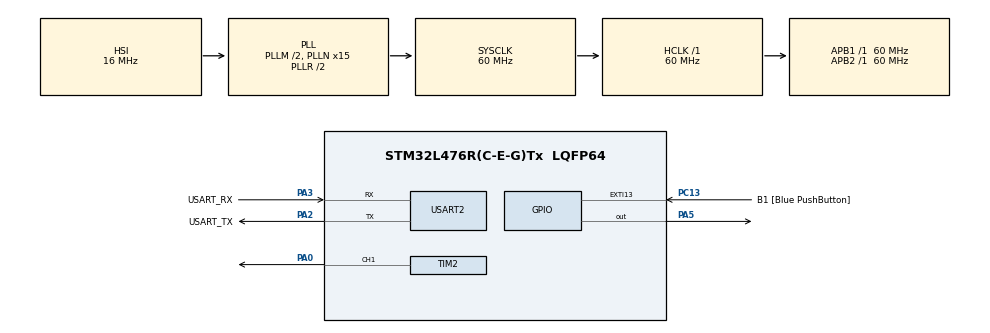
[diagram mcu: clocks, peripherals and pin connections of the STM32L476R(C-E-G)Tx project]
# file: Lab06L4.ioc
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ADC1.Channel-0\#ChannelRegularConversion=ADC_CHANNEL_TEMPSENSOR
ADC1.ClockPrescaler=ADC_CLOCK_SYNC_PCLK_DIV4
ADC1.ContinuousConvMode=DISABLE
ADC1.NbrOfConversion=1
ADC1.NbrOfConversionFlag=1
ADC1.OffsetNumber-0\#ChannelRegularConversion=ADC_OFFSET_NONE
ADC1.Rank-0\#ChannelRegularConversion=1
ADC1.SamplingTime-0\#ChannelRegularConversion=ADC_SAMPLETIME_640CYCLES_5
ADC1.master=1
Mcu.Family=STM32L4
Mcu.Name=STM32L476R(C-E-G)Tx
Mcu.Package=LQFP64
NVIC.EXTI15_10_IRQn=true\:0\:0\:false\:false\:true\:true\:true
NVIC.PriorityGroup=NVIC_PRIORITYGROUP_4
NVIC.TIM6_DAC_IRQn=true\:0\:0\:false\:false\:true\:true\:true
NVIC.USART2_IRQn=true\:0\:0\:false\:false\:true\:true\:true
PA0.Signal=S_TIM2_CH1
PA13\ (JTMS-SWDIO).GPIO_Label=TMS
PA13\ (JTMS-SWDIO).Mode=Serial_Wire
PA13\ (JTMS-SWDIO).Signal=SYS_JTMS-SWDIO
PA14\ (JTCK-SWCLK).GPIO_Label=TCK
PA14\ (JTCK-SWCLK).Mode=Serial_Wire
PA14\ (JTCK-SWCLK).Signal=SYS_JTCK-SWCLK
PA2.GPIO_Label=USART_TX
PA2.GPIO_Mode=GPIO_MODE_AF_PP
PA2.GPIO_PuPd=GPIO_NOPULL
PA2.GPIO_Speed=GPIO_SPEED_FREQ_VERY_HIGH
PA2.Mode=Asynchronous
PA2.Signal=USART2_TX
PA3.GPIO_Label=USART_RX
PA3.GPIO_Mode=GPIO_MODE_AF_PP
PA3.GPIO_PuPd=GPIO_NOPULL
PA3.GPIO_Speed=GPIO_SPEED_FREQ_VERY_HIGH
PA3.Mode=Asynchronous
PA3.Signal=USART2_RX
PA5.Signal=GPIO_Output
PB3\ (JTDO-TRACESWO).GPIO_Label=SWO
PB3\ (JTDO-TRACESWO).Signal=SYS_JTDO-SWO
PC13.GPIO_Label=B1 [Blue PushButton]
PC13.GPIO_ModeDefaultEXTI=GPIO_MODE_IT_FALLING
PC13.GPIO_PuPd=GPIO_NOPULL
PC13.Signal=GPXTI13
PC14-OSC32_IN\ (PC14).Mode=LSE-External-Oscillator
PC14-OSC32_IN\ (PC14).Signal=RCC_OSC32_IN
PC15-OSC32_OUT\ (PC15).Mode=LSE-External-Oscillator
PC15-OSC32_OUT\ (PC15).Signal=RCC_OSC32_OUT
PH0-OSC_IN\ (PH0).Signal=RCC_OSC_IN
PH1-OSC_OUT\ (PH1).Signal=RCC_OSC_OUT
ProjectManager.HeapSize=0x200
ProjectManager.StackSize=0x400
ProjectManager.TargetToolchain=SW4STM32
RCC.ADCFreq_Value=32000000
RCC.AHBFreq_Value=60000000
RCC.APB1Freq_Value=60000000
RCC.APB1TimFreq_Value=60000000
RCC.APB2Freq_Value=60000000
RCC.APB2TimFreq_Value=60000000
RCC.CortexFreq_Value=60000000
RCC.HCLKFreq_Value=60000000
RCC.HSE_VALUE=8000000
RCC.HSI_VALUE=16000000
RCC.MSI_VALUE=4000000
RCC.PLLM=2
RCC.PLLN=15
RCC.PLLSourceVirtual=RCC_PLLSOURCE_HSI
RCC.PREFETCH_ENABLE=1
RCC.SYSCLKFreq_VALUE=60000000
RCC.SYSCLKSource=RCC_SYSCLKSOURCE_PLLCLK
RCC.USBFreq_Value=32000000
RCC.VCOOutputFreq_Value=120000000
SH.S_TIM2_CH1.0=TIM2_CH1,PWM Generation1 CH1
TIM2.Channel-PWM\ Generation1\ CH1=TIM_CHANNEL_1
TIM2.Period=4
TIM2.Prescaler=59999
TIM6.Period=499
TIM6.Prescaler=59999
USART2.VirtualMode-Asynchronous=VM_ASYNC
VP_ADC1_TempSens_Input.Mode=IN-TempSens
VP_TIM6_VS_ClockSourceINT.Mode=Enable_Timer
board=NUCLEO-L476RG

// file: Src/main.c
/* USER CODE BEGIN Header */
/**
  ******************************************************************************
  * @file           : main.c
  * @brief          : Main program body
  ******************************************************************************
  * @attention
  *
  * <h2><center>&copy; Copyright (c) 2019 STMicroelectronics.
  * All rights reserved.</center></h2>
  *
  * This software component is licensed by ST under BSD 3-Clause license,
  * the "License"; You may not use this file except in compliance with the
  * License. You may obtain a copy of the License at:
  *                        opensource.org/licenses/BSD-3-Clause
  *
  ******************************************************************************
  */
/* USER CODE END Header */

#include "main.h"

/* USER CODE BEGIN Includes */
#include <stdio.h>
#include <string.h>
/* USER CODE END Includes */

/* USER CODE BEGIN PTD */
#define Vref		3300.0f
#define Avg_Slope	2.50f
#define V25			760.0f

#define TS110 	((uint16_t*)((uint32_t) 0x1FFF75CA))// calibrated at 3.3V +-10mV @110C +/- 5C
#define TS30 	((uint16_t*)((uint32_t) 0x1FFF75A8))// calibrated at 3.3V +-10mV @ 30C +/- 5C
#define VREF    ((uint16_t*)((uint32_t) 0x1FFF75AA))// calibrated at 3.3V +-10mV @ 30C +/- 5C

#define MAXBUFFSIZE    	100
#define CMD_NUM 		8

/* USER CODE END PTD */

ADC_HandleTypeDef hadc1;

TIM_HandleTypeDef htim2;
TIM_HandleTypeDef htim6;

UART_HandleTypeDef huart2;

/* USER CODE BEGIN PV */

volatile uint16_t press_number = 0;

uint8_t idx = 0;
uint16_t periods[4] = {249, 499, 999, 1999};
uint8_t pulse[4] = {1, 4, 9, 0};

uint8_t dc, step = 0;

uint8_t flag = 1;

uint8_t buffer[MAXBUFFSIZE];

uint8_t RxBuf [MAXBUFFSIZE];
uint8_t TxBuf [MAXBUFFSIZE];

uint8_t errorBuff[] = "\n\r*** Command not found ****\n\r";
uint8_t welcomeBuff[] = "**** WELCOME TO STM32 CONSOLE ****\n\r";

uint8_t *cmds[CMD_NUM] = {
		"led on",
		"led off",
		"led toggle",
		"led blink",
		"led status",
		"get timer",
		"get temp",
		"set timer"
};

uint8_t char_counter = 0;

/* USER CODE END PV */

void SystemClock_Config(void);
static void MX_GPIO_Init(void);
static void MX_USART2_UART_Init(void);
static void MX_TIM6_Init(void);
static void MX_ADC1_Init(void);
static void MX_TIM2_Init(void);
/* USER CODE BEGIN PFP */
void pwm_dc(uint16_t val);
uint16_t get_ADC();
float ConvertTemp(uint16_t adc_raw);
void cmd_check();
/* USER CODE END PFP */

int main(void)
{

  /* MCU Configuration--------------------------------------------------------*/

  /* Reset of all peripherals, Initializes the Flash interface and the Systick. */
  HAL_Init();

  /* Configure the system clock */
  SystemClock_Config();

  /* Initialize all configured peripherals */
  MX_GPIO_Init();
  MX_USART2_UART_Init();
  MX_TIM6_Init();
  MX_ADC1_Init();
  MX_TIM2_Init();
  /* USER CODE BEGIN 2 */

  HAL_UART_Transmit(&huart2, welcomeBuff, sizeof(welcomeBuff), 5000);
  HAL_UART_Receive_IT(&huart2 , RxBuf, 1);

  /* USER CODE END 2 */

  /* Infinite loop */
  while (1)
  {

  }
}

void SystemClock_Config(void)
{
  RCC_OscInitTypeDef RCC_OscInitStruct = {0};
  RCC_ClkInitTypeDef RCC_ClkInitStruct = {0};
  RCC_PeriphCLKInitTypeDef PeriphClkInit = {0};

  /** Initializes the CPU, AHB and APB busses clocks
  */
  RCC_OscInitStruct.OscillatorType = RCC_OSCILLATORTYPE_HSI;
  RCC_OscInitStruct.HSIState = RCC_HSI_ON;
  RCC_OscInitStruct.HSICalibrationValue = RCC_HSICALIBRATION_DEFAULT;
  RCC_OscInitStruct.PLL.PLLState = RCC_PLL_ON;
  RCC_OscInitStruct.PLL.PLLSource = RCC_PLLSOURCE_HSI;
  RCC_OscInitStruct.PLL.PLLM = 2;
  RCC_OscInitStruct.PLL.PLLN = 15;
  RCC_OscInitStruct.PLL.PLLP = RCC_PLLP_DIV7;
  RCC_OscInitStruct.PLL.PLLQ = RCC_PLLQ_DIV2;
  RCC_OscInitStruct.PLL.PLLR = RCC_PLLR_DIV2;
  if (HAL_RCC_OscConfig(&RCC_OscInitStruct) != HAL_OK)
  {
    Error_Handler();
  }
  /** Initializes the CPU, AHB and APB busses clocks
  */
  RCC_ClkInitStruct.ClockType = RCC_CLOCKTYPE_HCLK|RCC_CLOCKTYPE_SYSCLK
                              |RCC_CLOCKTYPE_PCLK1|RCC_CLOCKTYPE_PCLK2;
  RCC_ClkInitStruct.SYSCLKSource = RCC_SYSCLKSOURCE_PLLCLK;
  RCC_ClkInitStruct.AHBCLKDivider = RCC_SYSCLK_DIV1;
  RCC_ClkInitStruct.APB1CLKDivider = RCC_HCLK_DIV1;
  RCC_ClkInitStruct.APB2CLKDivider = RCC_HCLK_DIV1;

  if (HAL_RCC_ClockConfig(&RCC_ClkInitStruct, FLASH_LATENCY_3) != HAL_OK)
  {
    Error_Handler();
  }
  PeriphClkInit.PeriphClockSelection = RCC_PERIPHCLK_USART2;
  PeriphClkInit.Usart2ClockSelection = RCC_USART2CLKSOURCE_PCLK1;
  if (HAL_RCCEx_PeriphCLKConfig(&PeriphClkInit) != HAL_OK)
  {
    Error_Handler();
  }
  /** Configure the main internal regulator output voltage
  */
  if (HAL_PWREx_ControlVoltageScaling(PWR_REGULATOR_VOLTAGE_SCALE1) != HAL_OK)
  {
    Error_Handler();
  }
}

static void MX_ADC1_Init(void)
{

  ADC_MultiModeTypeDef multimode = {0};
  ADC_ChannelConfTypeDef sConfig = {0};

  /** Common config
  */
  hadc1.Instance = ADC1;
  hadc1.Init.ClockPrescaler = ADC_CLOCK_SYNC_PCLK_DIV4;
  hadc1.Init.Resolution = ADC_RESOLUTION_12B;
  hadc1.Init.DataAlign = ADC_DATAALIGN_RIGHT;
  hadc1.Init.ScanConvMode = ADC_SCAN_DISABLE;
  hadc1.Init.EOCSelection = ADC_EOC_SINGLE_CONV;
  hadc1.Init.LowPowerAutoWait = DISABLE;
  hadc1.Init.ContinuousConvMode = DISABLE;
  hadc1.Init.NbrOfConversion = 1;
  hadc1.Init.DiscontinuousConvMode = DISABLE;
  hadc1.Init.ExternalTrigConv = ADC_SOFTWARE_START;
  hadc1.Init.ExternalTrigConvEdge = ADC_EXTERNALTRIGCONVEDGE_NONE;
  hadc1.Init.DMAContinuousRequests = DISABLE;
  hadc1.Init.Overrun = ADC_OVR_DATA_PRESERVED;
  hadc1.Init.OversamplingMode = DISABLE;
  if (HAL_ADC_Init(&hadc1) != HAL_OK)
  {
    Error_Handler();
  }
  /** Configure the ADC multi-mode
  */
  multimode.Mode = ADC_MODE_INDEPENDENT;
  if (HAL_ADCEx_MultiModeConfigChannel(&hadc1, &multimode) != HAL_OK)
  {
    Error_Handler();
  }
  /** Configure Regular Channel
  */
  sConfig.Channel = ADC_CHANNEL_TEMPSENSOR;
  sConfig.Rank = ADC_REGULAR_RANK_1;
  sConfig.SamplingTime = ADC_SAMPLETIME_640CYCLES_5;
  sConfig.SingleDiff = ADC_SINGLE_ENDED;
  sConfig.OffsetNumber = ADC_OFFSET_NONE;
  sConfig.Offset = 0;
  if (HAL_ADC_ConfigChannel(&hadc1, &sConfig) != HAL_OK)
  {
    Error_Handler();
  }

}

static void MX_TIM2_Init(void)
{

  TIM_MasterConfigTypeDef sMasterConfig = {0};
  TIM_OC_InitTypeDef sConfigOC = {0};

  htim2.Instance = TIM2;
  htim2.Init.Prescaler = 59999;
  htim2.Init.CounterMode = TIM_COUNTERMODE_UP;
  htim2.Init.Period = 4;
  htim2.Init.ClockDivision = TIM_CLOCKDIVISION_DIV1;
  htim2.Init.AutoReloadPreload = TIM_AUTORELOAD_PRELOAD_DISABLE;
  if (HAL_TIM_PWM_Init(&htim2) != HAL_OK)
  {
    Error_Handler();
  }
  sMasterConfig.MasterOutputTrigger = TIM_TRGO_RESET;
  sMasterConfig.MasterSlaveMode = TIM_MASTERSLAVEMODE_DISABLE;
  if (HAL_TIMEx_MasterConfigSynchronization(&htim2, &sMasterConfig) != HAL_OK)
  {
    Error_Handler();
  }
  sConfigOC.OCMode = TIM_OCMODE_PWM1;
  sConfigOC.Pulse = 0;
  sConfigOC.OCPolarity = TIM_OCPOLARITY_HIGH;
  sConfigOC.OCFastMode = TIM_OCFAST_DISABLE;
  if (HAL_TIM_PWM_ConfigChannel(&htim2, &sConfigOC, TIM_CHANNEL_1) != HAL_OK)
  {
    Error_Handler();
  }
  HAL_TIM_MspPostInit(&htim2);

}

static void MX_TIM6_Init(void)
{

  TIM_MasterConfigTypeDef sMasterConfig = {0};

  htim6.Instance = TIM6;
  htim6.Init.Prescaler = 59999;
  htim6.Init.CounterMode = TIM_COUNTERMODE_UP;
  htim6.Init.Period = 499;
  htim6.Init.AutoReloadPreload = TIM_AUTORELOAD_PRELOAD_DISABLE;
  if (HAL_TIM_Base_Init(&htim6) != HAL_OK)
  {
    Error_Handler();
  }
  sMasterConfig.MasterOutputTrigger = TIM_TRGO_RESET;
  sMasterConfig.MasterSlaveMode = TIM_MASTERSLAVEMODE_DISABLE;
  if (HAL_TIMEx_MasterConfigSynchronization(&htim6, &sMasterConfig) != HAL_OK)
  {
    Error_Handler();
  }

}

static void MX_USART2_UART_Init(void)
{

  huart2.Instance = USART2;
  huart2.Init.BaudRate = 115200;
  huart2.Init.WordLength = UART_WORDLENGTH_8B;
  huart2.Init.StopBits = UART_STOPBITS_1;
  huart2.Init.Parity = UART_PARITY_NONE;
  huart2.Init.Mode = UART_MODE_TX_RX;
  huart2.Init.HwFlowCtl = UART_HWCONTROL_NONE;
  huart2.Init.OverSampling = UART_OVERSAMPLING_16;
  huart2.Init.OneBitSampling = UART_ONE_BIT_SAMPLE_DISABLE;
  huart2.AdvancedInit.AdvFeatureInit = UART_ADVFEATURE_NO_INIT;
  if (HAL_UART_Init(&huart2) != HAL_OK)
  {
    Error_Handler();
  }

}

static void MX_GPIO_Init(void)
{
  GPIO_InitTypeDef GPIO_InitStruct = {0};

  /* GPIO Ports Clock Enable */
  __HAL_RCC_GPIOC_CLK_ENABLE();
  __HAL_RCC_GPIOH_CLK_ENABLE();
  __HAL_RCC_GPIOA_CLK_ENABLE();
  __HAL_RCC_GPIOB_CLK_ENABLE();

  /*Configure GPIO pin Output Level */
  HAL_GPIO_WritePin(GPIOA, GPIO_PIN_5, GPIO_PIN_RESET);

  /*Configure GPIO pin : B1_Pin */
  GPIO_InitStruct.Pin = B1_Pin;
  GPIO_InitStruct.Mode = GPIO_MODE_IT_FALLING;
  GPIO_InitStruct.Pull = GPIO_NOPULL;
  HAL_GPIO_Init(B1_GPIO_Port, &GPIO_InitStruct);

  /*Configure GPIO pin : PA5 */
  GPIO_InitStruct.Pin = GPIO_PIN_5;
  GPIO_InitStruct.Mode = GPIO_MODE_OUTPUT_PP;
  GPIO_InitStruct.Pull = GPIO_NOPULL;
  GPIO_InitStruct.Speed = GPIO_SPEED_FREQ_LOW;
  HAL_GPIO_Init(GPIOA, &GPIO_InitStruct);

  /* EXTI interrupt init*/
  HAL_NVIC_SetPriority(EXTI15_10_IRQn, 0, 0);
  HAL_NVIC_EnableIRQ(EXTI15_10_IRQn);

}

/* USER CODE BEGIN 4 */
void HAL_GPIO_EXTI_Callback(uint16_t GPIO_Pin){

	if(GPIO_Pin == GPIO_PIN_13){						//Check if the interrupt comes from the right GPIO

/*************** EX 1 ***************/
//
			//HAL_GPIO_TogglePin(LD2_GPIO_Port, LD2_Pin); //LED TOGGLING
//
//			press_number++; 							// Increment the number of time we press the button
//		}
//
/************************************/

/*************** EX 2 ***************/
//
//		if(press_number++ % 2 == 0)						// Check if the number is even/odd
//			HAL_TIM_Base_Start_IT(&htim10);
//
//		else
//			HAL_TIM_Base_Stop_IT(&htim10);
//
//
/************************************/

/*************** EX 3 ***************/
//
//		if(idx < 4){									// Check the index used to switch timer period
//
//			HAL_TIM_Base_Stop_IT(&htim10);				// Stop the timer
//
//			TIM10->ARR = periods[idx];					// Update the auto reload register
//			TIM10->CNT = 0;								// Clear the count register
//
//			HAL_TIM_Base_Start_IT(&htim10);				// Start the timer
//
//			idx++;										// Increment index
//		} else{
//
//			HAL_TIM_Base_Stop_IT(&htim10);				// Stop the timer
//
//			idx = 0;									// Clear Index
//
//		}
//
/************************************/

/*************** EX 4 ***************/

//		if(idx < 4){
//
//			HAL_TIM_PWM_Stop(&htim2, TIM_CHANNEL_1);
//
//			TIM2->CCR1 = pulse [idx];
//
//			HAL_TIM_PWM_Start(&htim2, TIM_CHANNEL_1);
//
//			idx++;
//
//		}else {
//
//			idx = 0;
//
//		}

/************************************/

/*************** EX 6 ***************/
//
//		if(press_number++ % 2 == 0){						// Check if the number is even/odd
//			HAL_TIM_Base_Start_IT(&htim6);
//			dc = 0;
//		}
//		else{
//			HAL_TIM_PWM_Stop(&htim2, TIM_CHANNEL_1);
//			HAL_TIM_Base_Stop_IT(&htim6);
//			dc = 0;
//		}
//
/************************************/

/*************** EX 7 ***************/

//		if(flag){
//
//			HAL_UART_Transmit(&huart2, buffer, sizeof(buffer), 5000);
//			flag = 0;
//			HAL_TIM_Base_Start_IT(&htim6);
//
//		}

/************************************/
	}
}

void HAL_TIM_PeriodElapsedCallback(TIM_HandleTypeDef *htim){

	if(htim == &htim6){								// Check if the interrupt comes from the right Timer
//		HAL_GPIO_TogglePin(GPIOA, GPIO_PIN_5); 			//LED TOGGLING

/*************** EX 6 ***************/
//
//		if (dc == 0) step = 1;							// Check if we want to increment the duty cycle
//		if (dc == 10) step = -1;						// Check if we want to decrement the duty cycle
//
//		dc += step;										//Duty cycle increment/decrement
//		pwm_dc(dc);										//Duty cycle update
//	}
//
/************************************/

/*************** EX 7 ***************/

//		flag = 1;
//		HAL_TIM_Base_Stop_IT(&htim6);

/************************************/

/*************** EX 8 ***************/
//		sprintf(buffer, "Temp: %f \n\r", ConvertTemp(get_ADC()));
//
//		HAL_UART_Transmit(&huart2, buffer, sizeof(buffer), 5000);
/************************************/

/*************** EX 9 ***************/
//
//		double t = ConvertTemp(get_ADC());
//		//double t = get_ADC();
//
//		if(t < 23)
//			pwm_dc(3);
//
//		else if( t >= 23 && t <= 25)
//			pwm_dc(4);
//
//		else
//			pwm_dc(9);
//
//		sprintf((char*)buffer, "Temp: %4.2lf \n\r", t);
//
//		HAL_UART_Transmit(&huart2, buffer, sizeof(buffer), 5000);
//
/************************************/

/*************** EX 10 ***************/

		HAL_GPIO_TogglePin(GPIOA, GPIO_PIN_5);

/************************************/
	}
}

void HAL_UART_RxCpltCallback(UART_HandleTypeDef *huart){

	if(RxBuf[0] == '\r'){

		HAL_UART_Transmit(&huart2, (uint8_t *)"\r\n", sizeof("\r\n"),10);
	    cmd_check();
	}
	else if(RxBuf[0] == '\b'){

		HAL_UART_Transmit(&huart2, (uint8_t *)"\b \b", sizeof("\b \b"),10);
		TxBuf[--char_counter] = NULL;

	}else{

		TxBuf[char_counter++] = RxBuf[0];

		HAL_UART_Transmit(&huart2, (uint8_t *) RxBuf, sizeof(RxBuf),10);
	}

	HAL_UART_Receive_IT(&huart2 , RxBuf, 1); // Restart UART in Interrupt mode
}

void pwm_dc(uint16_t val){

	HAL_TIM_PWM_Stop(&htim2, TIM_CHANNEL_1);

	TIM2->CCR1 = val;

	HAL_TIM_PWM_Start(&htim2, TIM_CHANNEL_1);

}

float ConvertTemp(uint16_t D_ADC){

	float V_ADC = (D_ADC * ( Vref / 4095.0 ));			// Convert bit to voltage
	float processorTemp;                    			// the temperature in degree Celsius

	processorTemp =  V_ADC - V25;
	processorTemp /= Avg_Slope ;
	processorTemp += 45;								//Temperature offset
														//to be calibrated
	return processorTemp;
}

uint16_t get_ADC(){

	HAL_ADC_Start(&hadc1);
	HAL_ADC_PollForConversion(&hadc1, 1000);
	uint16_t value = HAL_ADC_GetValue(&hadc1);
	HAL_ADC_Stop(&hadc1);

	return value;
}

void cmd_check(){

	int8_t i = CMD_NUM - 1;

//	HAL_UART_Transmit(&huart2, (uint8_t *)"\n\r***\n\r", sizeof("\n\r***\n\r"),1000);
//	HAL_UART_Transmit(&huart2, (uint8_t *) TxBuf, sizeof(TxBuf),1000);
//	HAL_UART_Transmit(&huart2, (uint8_t *)"\n\r***\n\r", sizeof("\n\r***\n\r"),1000);

	while(strcmp((char *)TxBuf, (char *)cmds[i]) != 0 && i >= 0)
		i--;

	if(i < 0){
		memset(buffer, 0, MAXBUFFSIZE);
		sprintf((char*)buffer, "Unrecognized command!\n\rCommand list: \r\n");
		HAL_UART_Transmit(&huart2, (uint8_t *) buffer, sizeof(buffer),1000);

		for (uint8_t i = 0; i < CMD_NUM; i++){

			memset(buffer, 0, MAXBUFFSIZE);
			sprintf((char*)buffer, "%i - %s\r\n", i, cmds[i]);
			HAL_UART_Transmit(&huart2, (uint8_t *) buffer, sizeof(buffer),1000);
		}
	}

	else{

		memset(buffer, 0, MAXBUFFSIZE);
		sprintf((char*)buffer, "Command OK. ID: %d\r\n",i);
		HAL_UART_Transmit(&huart2, (uint8_t *) buffer, sizeof(buffer),1000);

		switch(i){

			case 0:
				HAL_GPIO_WritePin(GPIOA, GPIO_PIN_5, SET);
				break;

			case 1:
				HAL_GPIO_WritePin(GPIOA, GPIO_PIN_5, RESET);
				HAL_TIM_Base_Stop_IT(&htim6);
				TIM6->CNT = 0;
				break;

			case 2:
				HAL_GPIO_TogglePin(GPIOA, GPIO_PIN_5);
				break;

			case 3:
				//HAL_TIM_PWM_Start(&htim2, TIM_CHANNEL_1);
				HAL_TIM_Base_Start_IT(&htim6);
				break;

			case 4:
				if(HAL_GPIO_ReadPin(GPIOA, GPIO_PIN_5)){

					memset(buffer, 0, MAXBUFFSIZE);
					sprintf((char*)buffer, "Led ON\r\n");
					HAL_UART_Transmit(&huart2, (uint8_t *) buffer, sizeof(buffer),1000);

				}
				else{

					memset(buffer, 0, MAXBUFFSIZE);
					sprintf((char*)buffer, "Led OFF\r\n");
					HAL_UART_Transmit(&huart2, (uint8_t *) buffer, sizeof(buffer),1000);

				}
				break;

			case 5:
				if(TIM6->CNT == 0){
					memset(buffer, 0, MAXBUFFSIZE);
					sprintf((char*)buffer, "Timer 6 is stoped!\r\n");
					HAL_UART_Transmit(&huart2, (uint8_t *) buffer, sizeof(buffer),1000);
				} else {

					memset(buffer, 0, MAXBUFFSIZE);
					sprintf((char*)buffer, "Timer 6 is running\r\n");
					HAL_UART_Transmit(&huart2, (uint8_t *) buffer, sizeof(buffer),1000);
				}
				break;

			case 6: ;
				memset(buffer, 0, MAXBUFFSIZE);
				sprintf((char*)buffer, "Temp: %f \r\n", ConvertTemp( get_ADC()));
				HAL_UART_Transmit(&huart2, (uint8_t *) buffer, sizeof(buffer),1000);
				break;
		}
	}

	memset(TxBuf, 0, MAXBUFFSIZE);
	memset(RxBuf, 0, MAXBUFFSIZE);
	char_counter = 0;
}

/* USER CODE END 4 */

void Error_Handler(void)
{
}

/************************ (C) COPYRIGHT STMicroelectronics *****END OF FILE****/
